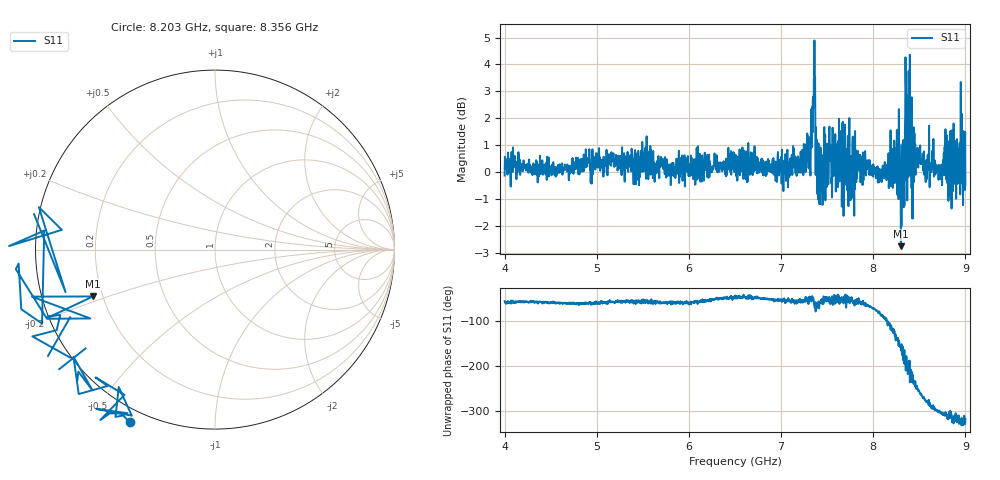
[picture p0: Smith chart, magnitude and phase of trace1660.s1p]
! Created with skrf 1.8.0 (http://scikit-rf.org).
# Hz S RI R 50.0
!freq ReS11 ImS11
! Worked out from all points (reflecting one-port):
!   1601 points, 4 GHz to 9 GHz, reference 50 ohm
!   lowest |S11| = -2.8 dB at 8.3 GHz (marker M1), VSWR 6.36, Z = 8.12 - j9.03 ohm
!   phase of S11 starts at -56 deg and turns -263 deg over the sweep
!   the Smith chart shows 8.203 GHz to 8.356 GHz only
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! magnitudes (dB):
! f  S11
! 4 GHz  -0.1
! 4.625 GHz  0.0
! 5.25 GHz  0.2
! 5.875 GHz  0.5
! 6.5 GHz  0.4
! 7.125 GHz  0.4
! 7.297 GHz  1.3
! 7.316 GHz  0.1
! 7.347 GHz  2.7
! 7.366 GHz  2.7
! 7.4 GHz  -0.4
! 7.428 GHz  0.9
! 7.509 GHz  0.5
! 7.616 GHz  -0.6
! 7.65 GHz  1.2
! 7.75 GHz  -0.2
! 7.928 GHz  0.3
! 8.075 GHz  0.1
! 8.262 GHz  -0.8
! 8.3 GHz  -2.8
! 8.316 GHz  0.8
! 8.334 GHz  0.1
! 8.375 GHz  1.2
! 8.447 GHz  1.4
! 8.466 GHz  0.5
! 8.722 GHz  0.0
! 8.959 GHz  2.2
! 9 GHz  -0.5
